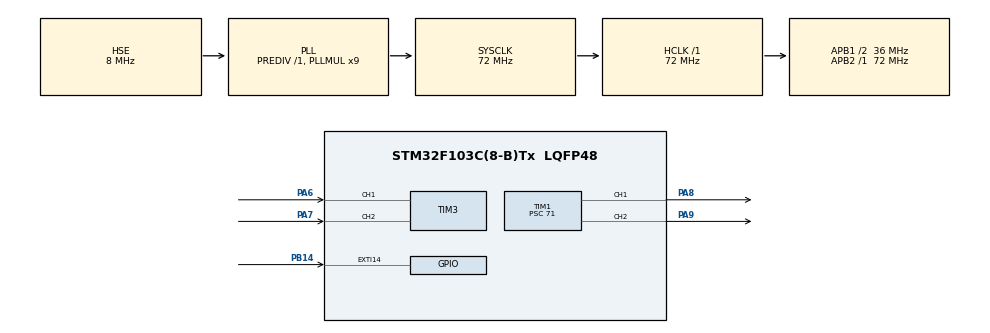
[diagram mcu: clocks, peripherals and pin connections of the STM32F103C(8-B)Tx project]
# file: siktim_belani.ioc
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Mcu.Family=STM32F1
Mcu.Name=STM32F103C(8-B)Tx
Mcu.Package=LQFP48
NVIC.EXTI15_10_IRQn=true\:0\:0\:false\:false\:true\:true\:true
NVIC.PriorityGroup=NVIC_PRIORITYGROUP_4
NVIC.TIM1_UP_IRQn=true\:0\:0\:false\:false\:true\:true\:true
NVIC.TIM2_IRQn=true\:0\:0\:true\:false\:true\:true\:true
NVIC.TIM3_IRQn=true\:1\:0\:true\:false\:true\:true\:true
PA13.Mode=Serial_Wire
PA13.Signal=SYS_JTMS-SWDIO
PA14.Mode=Serial_Wire
PA14.Signal=SYS_JTCK-SWCLK
PA6.Signal=S_TIM3_CH1
PA7.Signal=S_TIM3_CH2
PA8.Signal=S_TIM1_CH1
PA9.Signal=S_TIM1_CH2
PB14.GPIO_PuPd=GPIO_PULLDOWN
PB14.Signal=GPXTI14
PD0-OSC_IN.Mode=HSE-External-Oscillator
PD0-OSC_IN.Signal=RCC_OSC_IN
PD1-OSC_OUT.Mode=HSE-External-Oscillator
PD1-OSC_OUT.Signal=RCC_OSC_OUT
ProjectManager.HeapSize=0x200
ProjectManager.StackSize=0x400
ProjectManager.TargetToolchain=MDK-ARM V5.27
RCC.AHBFreq_Value=72000000
RCC.APB1CLKDivider=RCC_HCLK_DIV2
RCC.APB1Freq_Value=36000000
RCC.APB1TimFreq_Value=72000000
RCC.APB2Freq_Value=72000000
RCC.APB2TimFreq_Value=72000000
RCC.HCLKFreq_Value=72000000
RCC.PLLMUL=RCC_PLL_MUL9
RCC.PLLSourceVirtual=RCC_PLLSOURCE_HSE
RCC.SYSCLKFreq_VALUE=72000000
RCC.SYSCLKSource=RCC_SYSCLKSOURCE_PLLCLK
RCC.USBFreq_Value=72000000
SH.S_TIM1_CH1.0=TIM1_CH1,PWM Generation1 CH1
SH.S_TIM1_CH2.0=TIM1_CH2,PWM Generation2 CH2
SH.S_TIM3_CH1.0=TIM3_CH1,Encoder_Interface
SH.S_TIM3_CH2.0=TIM3_CH2,Encoder_Interface
TIM1.Channel-PWM\ Generation1\ CH1=TIM_CHANNEL_1
TIM1.Channel-PWM\ Generation2\ CH2=TIM_CHANNEL_2
TIM1.Period=999
TIM1.Prescaler=71
TIM2.Period=999
TIM2.Prescaler=73
TIM3.EncoderMode=TIM_ENCODERMODE_TI12
TIM3.IC1Filter=10
TIM3.IC2Filter=10
VP_TIM1_VS_ClockSourceINT.Mode=Internal
VP_TIM2_VS_ClockSourceINT.Mode=Internal
board=custom

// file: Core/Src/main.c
/* USER CODE BEGIN Header */
/**
  ******************************************************************************
  * @file           : main.c
  * @brief          : Main program body
  ******************************************************************************
  * @attention
  *
  * <h2><center>&copy; Copyright (c) 2021 STMicroelectronics.
  * All rights reserved.</center></h2>
  *
  * This software component is licensed by ST under BSD 3-Clause license,
  * the "License"; You may not use this file except in compliance with the
  * License. You may obtain a copy of the License at:
  *                        opensource.org/licenses/BSD-3-Clause
  *
  ******************************************************************************
  */
/* USER CODE END Header */
#include "main.h"

/* USER CODE BEGIN PD */
#define GEAR_RATIO 48
#define ENCODER_PULS 1024

#define VOLTAGE_MAX 12.0
#define RPM_MAX 1500

#define PWM_MAX 999
#define PWM_ZERO 499
#define PWM_MIN 0

#define TX_TIME 99
#define PID_TIME 9
#define LED_TIME 49
#define VELOCITY_TIME 499

#define MILISECOND 1000
#define SECOND 1000
#define MINUTE 60
/* USER CODE END PD */

TIM_HandleTypeDef htim1;
TIM_HandleTypeDef htim2;
TIM_HandleTypeDef htim3;

/* USER CODE BEGIN PV */
uint32_t hiz = 0;
uint32_t encoder_counter = 0;
typedef struct encoderStruct {
	 uint32_t counter_u32;
	_Bool measuredDirection_bool;
	 float measuredSpeed_f32;
}ENCODER_HandleTypeDef;

ENCODER_HandleTypeDef rencoder1;

typedef struct timerStruct {
	uint16_t velocityCalculator_u16;
  uint16_t slowStartMotor_u16;
	uint16_t communicationUART_u16;
	uint16_t communicationCANBUS_u16;
	uint16_t ledDriver_u16;
	uint16_t pidCalculator_u16;
} TIMER_HandleTypeDef;

TIMER_HandleTypeDef rtimer1;

typedef struct flagStruct {
	struct {
		_Bool motorForward_bit;
		_Bool motorBackward_bit;
		_Bool UART_bit;
		_Bool CANBUS_bit;
		_Bool adminMode_bit;
		_Bool testMode_bit;
		_Bool normalMode_bit;
		_Bool ERROR_bit;
	} LED;
	struct {
		uint8_t rxIndex_bool;
		_Bool rxComplete_bool;
	} UART;
} FLAG_HandleTypeDef;

FLAG_HandleTypeDef rflag1;

uint32_t encoder;
/* USER CODE END PV */

void SystemClock_Config(void);
static void MX_GPIO_Init(void);
static void MX_TIM2_Init(void);
static void MX_TIM3_Init(void);
static void MX_TIM1_Init(void);
/* USER CODE BEGIN PFP */

void HAL_GPIO_EXTI_Callback(uint16_t GPIO_Pin) {
	if(HAL_GPIO_ReadPin(GPIOB, GPIO_PIN_14) != RESET) {
		encoder++;
	}
}

void RAKE_Measure_Speed(void) {

		if(TIM3->CR1 == 1) {
		rencoder1.measuredDirection_bool = 0;
		rencoder1.counter_u32 = (uint32_t)(TIM3->CNT);
		if(rtimer1.velocityCalculator_u16 > VELOCITY_TIME) {
			TIM3->CNT = 0;
			rencoder1.measuredSpeed_f32 = (((float)rencoder1.counter_u32 / ENCODER_PULS) * (SECOND / (VELOCITY_TIME + 1)) * MINUTE) / GEAR_RATIO;
			//hiz = (((float)encoder_counter / ENCODER_PULS) * (SECOND / (VELOCITY_TIME + 1)) * MINUTE) / GEAR_RATIO;
			hiz = (((float)encoder / ENCODER_PULS) * (SECOND / (VELOCITY_TIME + 1)) * MINUTE) / GEAR_RATIO;
			encoder_counter = 0;
			encoder = 0;
			rtimer1.velocityCalculator_u16 = 0;
			rflag1.LED.motorForward_bit = 1;
			rflag1.LED.motorBackward_bit = 0;
		}
	} else if(TIM3->CR1 == 17) {
		rencoder1.measuredDirection_bool = 1;
		rencoder1.counter_u32 = 65535 - (uint32_t)TIM3->CNT;
		if(rtimer1.velocityCalculator_u16 > VELOCITY_TIME) {
			TIM3->CNT = 65535;
			rencoder1.measuredSpeed_f32 = (((float)rencoder1.counter_u32 / ENCODER_PULS) * (SECOND / (VELOCITY_TIME + 1)) * MINUTE) / GEAR_RATIO;
			//hiz = (((float)encoder_counter / ENCODER_PULS) * (SECOND / (VELOCITY_TIME + 1)) * MINUTE) / GEAR_RATIO;
			hiz = (((float)encoder / ENCODER_PULS) * (SECOND / (VELOCITY_TIME + 1)) * MINUTE) / GEAR_RATIO;
			encoder_counter = 0;
			encoder = 0;
			rtimer1.velocityCalculator_u16 = 0;
			rflag1.LED.motorForward_bit = 0;
			rflag1.LED.motorBackward_bit = 1;
		}
	}
}

void HAL_TIM_PeriodElapsedCallback(TIM_HandleTypeDef *htim) {
		if(htim->Instance == TIM2) {
			rtimer1.slowStartMotor_u16++;
			rtimer1.communicationUART_u16++;
			rtimer1.pidCalculator_u16++;
			rtimer1.velocityCalculator_u16++;
			rtimer1.ledDriver_u16++;
		}
}

void HAL_TIM_IC_CaptureCallback(TIM_HandleTypeDef *htim) {
	if (htim->Instance == TIM3) {
		encoder_counter++;
	}
}
/* USER CODE END PFP */

int main(void)
{

  /* MCU Configuration--------------------------------------------------------*/

  /* Reset of all peripherals, Initializes the Flash interface and the Systick. */
  HAL_Init();

  /* Configure the system clock */
  SystemClock_Config();

  /* Initialize all configured peripherals */
  MX_GPIO_Init();
  MX_TIM2_Init();
  MX_TIM3_Init();
  MX_TIM1_Init();
  /* USER CODE BEGIN 2 */
	HAL_TIM_Base_Start_IT(&htim2);

	HAL_TIM_PWM_Start_IT(&htim1, TIM_CHANNEL_1);
	HAL_TIM_PWM_Start_IT(&htim1, TIM_CHANNEL_2);

	//HAL_TIM_Encoder_Start_IT(&htim3, TIM_CHANNEL_1);;
	//HAL_TIM_Encoder_Start_IT(&htim3, TIM_CHANNEL_2);

  /* USER CODE END 2 */

  /* Infinite loop */
  while (1)
  {

    /* USER CODE BEGIN 3 */
		__HAL_TIM_SetCompare(&htim1, TIM_CHANNEL_2, 199);
		RAKE_Measure_Speed();
  }
  /* USER CODE END 3 */
}

void SystemClock_Config(void)
{
  RCC_OscInitTypeDef RCC_OscInitStruct = {0};
  RCC_ClkInitTypeDef RCC_ClkInitStruct = {0};

  /** Initializes the RCC Oscillators according to the specified parameters
  * in the RCC_OscInitTypeDef structure.
  */
  RCC_OscInitStruct.OscillatorType = RCC_OSCILLATORTYPE_HSE;
  RCC_OscInitStruct.HSEState = RCC_HSE_ON;
  RCC_OscInitStruct.HSEPredivValue = RCC_HSE_PREDIV_DIV1;
  RCC_OscInitStruct.HSIState = RCC_HSI_ON;
  RCC_OscInitStruct.PLL.PLLState = RCC_PLL_ON;
  RCC_OscInitStruct.PLL.PLLSource = RCC_PLLSOURCE_HSE;
  RCC_OscInitStruct.PLL.PLLMUL = RCC_PLL_MUL9;
  if (HAL_RCC_OscConfig(&RCC_OscInitStruct) != HAL_OK)
  {
    Error_Handler();
  }
  /** Initializes the CPU, AHB and APB buses clocks
  */
  RCC_ClkInitStruct.ClockType = RCC_CLOCKTYPE_HCLK|RCC_CLOCKTYPE_SYSCLK
                              |RCC_CLOCKTYPE_PCLK1|RCC_CLOCKTYPE_PCLK2;
  RCC_ClkInitStruct.SYSCLKSource = RCC_SYSCLKSOURCE_PLLCLK;
  RCC_ClkInitStruct.AHBCLKDivider = RCC_SYSCLK_DIV1;
  RCC_ClkInitStruct.APB1CLKDivider = RCC_HCLK_DIV2;
  RCC_ClkInitStruct.APB2CLKDivider = RCC_HCLK_DIV1;

  if (HAL_RCC_ClockConfig(&RCC_ClkInitStruct, FLASH_LATENCY_2) != HAL_OK)
  {
    Error_Handler();
  }
}

static void MX_TIM1_Init(void)
{

  TIM_ClockConfigTypeDef sClockSourceConfig = {0};
  TIM_MasterConfigTypeDef sMasterConfig = {0};
  TIM_OC_InitTypeDef sConfigOC = {0};
  TIM_BreakDeadTimeConfigTypeDef sBreakDeadTimeConfig = {0};

  htim1.Instance = TIM1;
  htim1.Init.Prescaler = 71;
  htim1.Init.CounterMode = TIM_COUNTERMODE_UP;
  htim1.Init.Period = 999;
  htim1.Init.ClockDivision = TIM_CLOCKDIVISION_DIV1;
  htim1.Init.RepetitionCounter = 0;
  htim1.Init.AutoReloadPreload = TIM_AUTORELOAD_PRELOAD_DISABLE;
  if (HAL_TIM_Base_Init(&htim1) != HAL_OK)
  {
    Error_Handler();
  }
  sClockSourceConfig.ClockSource = TIM_CLOCKSOURCE_INTERNAL;
  if (HAL_TIM_ConfigClockSource(&htim1, &sClockSourceConfig) != HAL_OK)
  {
    Error_Handler();
  }
  if (HAL_TIM_PWM_Init(&htim1) != HAL_OK)
  {
    Error_Handler();
  }
  sMasterConfig.MasterOutputTrigger = TIM_TRGO_RESET;
  sMasterConfig.MasterSlaveMode = TIM_MASTERSLAVEMODE_DISABLE;
  if (HAL_TIMEx_MasterConfigSynchronization(&htim1, &sMasterConfig) != HAL_OK)
  {
    Error_Handler();
  }
  sConfigOC.OCMode = TIM_OCMODE_PWM1;
  sConfigOC.Pulse = 0;
  sConfigOC.OCPolarity = TIM_OCPOLARITY_HIGH;
  sConfigOC.OCNPolarity = TIM_OCNPOLARITY_HIGH;
  sConfigOC.OCFastMode = TIM_OCFAST_DISABLE;
  sConfigOC.OCIdleState = TIM_OCIDLESTATE_RESET;
  sConfigOC.OCNIdleState = TIM_OCNIDLESTATE_RESET;
  if (HAL_TIM_PWM_ConfigChannel(&htim1, &sConfigOC, TIM_CHANNEL_1) != HAL_OK)
  {
    Error_Handler();
  }
  if (HAL_TIM_PWM_ConfigChannel(&htim1, &sConfigOC, TIM_CHANNEL_2) != HAL_OK)
  {
    Error_Handler();
  }
  sBreakDeadTimeConfig.OffStateRunMode = TIM_OSSR_DISABLE;
  sBreakDeadTimeConfig.OffStateIDLEMode = TIM_OSSI_DISABLE;
  sBreakDeadTimeConfig.LockLevel = TIM_LOCKLEVEL_OFF;
  sBreakDeadTimeConfig.DeadTime = 0;
  sBreakDeadTimeConfig.BreakState = TIM_BREAK_DISABLE;
  sBreakDeadTimeConfig.BreakPolarity = TIM_BREAKPOLARITY_HIGH;
  sBreakDeadTimeConfig.AutomaticOutput = TIM_AUTOMATICOUTPUT_DISABLE;
  if (HAL_TIMEx_ConfigBreakDeadTime(&htim1, &sBreakDeadTimeConfig) != HAL_OK)
  {
    Error_Handler();
  }
  HAL_TIM_MspPostInit(&htim1);

}

static void MX_TIM2_Init(void)
{

  TIM_ClockConfigTypeDef sClockSourceConfig = {0};
  TIM_MasterConfigTypeDef sMasterConfig = {0};

  htim2.Instance = TIM2;
  htim2.Init.Prescaler = 73;
  htim2.Init.CounterMode = TIM_COUNTERMODE_UP;
  htim2.Init.Period = 999;
  htim2.Init.ClockDivision = TIM_CLOCKDIVISION_DIV1;
  htim2.Init.AutoReloadPreload = TIM_AUTORELOAD_PRELOAD_DISABLE;
  if (HAL_TIM_Base_Init(&htim2) != HAL_OK)
  {
    Error_Handler();
  }
  sClockSourceConfig.ClockSource = TIM_CLOCKSOURCE_INTERNAL;
  if (HAL_TIM_ConfigClockSource(&htim2, &sClockSourceConfig) != HAL_OK)
  {
    Error_Handler();
  }
  sMasterConfig.MasterOutputTrigger = TIM_TRGO_RESET;
  sMasterConfig.MasterSlaveMode = TIM_MASTERSLAVEMODE_DISABLE;
  if (HAL_TIMEx_MasterConfigSynchronization(&htim2, &sMasterConfig) != HAL_OK)
  {
    Error_Handler();
  }

}

static void MX_TIM3_Init(void)
{

  TIM_Encoder_InitTypeDef sConfig = {0};
  TIM_MasterConfigTypeDef sMasterConfig = {0};

  htim3.Instance = TIM3;
  htim3.Init.Prescaler = 0;
  htim3.Init.CounterMode = TIM_COUNTERMODE_UP;
  htim3.Init.Period = 65535;
  htim3.Init.ClockDivision = TIM_CLOCKDIVISION_DIV1;
  htim3.Init.AutoReloadPreload = TIM_AUTORELOAD_PRELOAD_DISABLE;
  sConfig.EncoderMode = TIM_ENCODERMODE_TI12;
  sConfig.IC1Polarity = TIM_ICPOLARITY_RISING;
  sConfig.IC1Selection = TIM_ICSELECTION_DIRECTTI;
  sConfig.IC1Prescaler = TIM_ICPSC_DIV1;
  sConfig.IC1Filter = 10;
  sConfig.IC2Polarity = TIM_ICPOLARITY_RISING;
  sConfig.IC2Selection = TIM_ICSELECTION_DIRECTTI;
  sConfig.IC2Prescaler = TIM_ICPSC_DIV1;
  sConfig.IC2Filter = 10;
  if (HAL_TIM_Encoder_Init(&htim3, &sConfig) != HAL_OK)
  {
    Error_Handler();
  }
  sMasterConfig.MasterOutputTrigger = TIM_TRGO_RESET;
  sMasterConfig.MasterSlaveMode = TIM_MASTERSLAVEMODE_DISABLE;
  if (HAL_TIMEx_MasterConfigSynchronization(&htim3, &sMasterConfig) != HAL_OK)
  {
    Error_Handler();
  }

}

static void MX_GPIO_Init(void)
{
  GPIO_InitTypeDef GPIO_InitStruct = {0};

  /* GPIO Ports Clock Enable */
  __HAL_RCC_GPIOD_CLK_ENABLE();
  __HAL_RCC_GPIOA_CLK_ENABLE();
  __HAL_RCC_GPIOB_CLK_ENABLE();

  /*Configure GPIO pin : PB14 */
  GPIO_InitStruct.Pin = GPIO_PIN_14;
  GPIO_InitStruct.Mode = GPIO_MODE_IT_RISING;
  GPIO_InitStruct.Pull = GPIO_PULLDOWN;
  HAL_GPIO_Init(GPIOB, &GPIO_InitStruct);

  /* EXTI interrupt init*/
  HAL_NVIC_SetPriority(EXTI15_10_IRQn, 0, 0);
  HAL_NVIC_EnableIRQ(EXTI15_10_IRQn);

}

void Error_Handler(void)
{
  __disable_irq();
  while (1)
  {
  }
}

/************************ (C) COPYRIGHT STMicroelectronics *****END OF FILE****/
